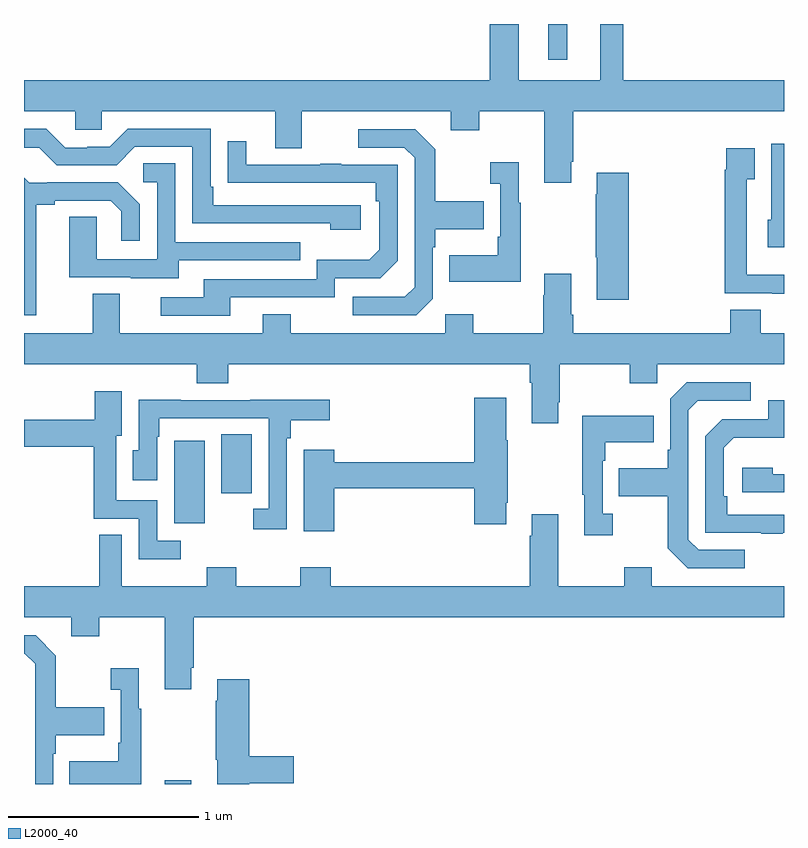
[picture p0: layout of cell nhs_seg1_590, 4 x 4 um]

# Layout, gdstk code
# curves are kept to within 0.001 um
import gdstk
lib = gdstk.Library(unit=1e-6, precision=1e-09)
def R(c, l, rs):  # rectangles x0, y0, x1, y1
    for r in rs: c.add(gdstk.rectangle(r[:2], r[2:], *l))
def P(c, l, *ps):  # polygons
    for p in ps: c.add(gdstk.Polygon(p, *l))
L2000_40 = (2000, 40)

nhs_seg1_590 = lib.new_cell('nhs_seg1_590')
R(nhs_seg1_590, L2000_40, [(143.741,540.199,143.881,540.22), (143.792,541.572,143.95,542.005), (144.038,541.728,144.199,542.039), (145.76,544.011,145.858,544.199)])
P(nhs_seg1_590, L2000_40, [(145.879,543.475),(145.892,543.475),(145.892,543.74),(147,543.74),(147,543.904),(146.155,543.904),(146.155,544.199),(146.033,544.199),(146.033,543.904),(145.603,543.904),(145.603,544.199),(145.451,544.199),(145.451,543.904),(143,543.904),(143,543.74),(143.271,543.74),(143.271,543.642),(143.409,543.642),(143.409,543.74),(144.323,543.74),(144.323,543.546),(144.463,543.546),(144.463,543.74),(145.247,543.74),(145.247,543.641),(145.395,543.641),(145.395,543.74),(145.739,543.74),(145.739,543.363),(145.879,543.363)],
  [(144.772,543.246),(143.995,543.246),(143.995,543.343),(143.982,543.343),(143.982,543.648),(143.547,543.648),(143.451,543.552),(143.333,543.552),(143.333,543.549),(143.217,543.549),(143.117,543.649),(143,543.649),(143,543.549),(143.079,543.549),(143.172,543.456),(143.487,543.456),(143.583,543.552),(143.886,543.552),(143.886,543.15),(144.611,543.15),(144.611,543.116),(144.772,543.116)],
  [(145.152,542.754),(145.152,543.023),(145.165,543.023),(145.165,543.119),(145.421,543.119),(145.421,543.267),(145.165,543.267),(145.165,543.539),(145.059,543.645),(144.759,543.645),(144.759,543.549),(145.002,543.549),(145.056,543.495),(145.056,542.814),(145.005,542.763),(144.729,542.763),(144.729,542.667),(145.065,542.667)],
  [(144.085,542.76),(144.636,542.76),(144.636,542.862),(144.876,542.862),(144.966,542.952),(144.966,543.459),(144.671,543.459),(144.671,543.464),(144.559,543.464),(144.559,543.459),(144.169,543.459),(144.169,543.583),(144.073,543.583),(144.073,543.364),(144.85,543.363),(144.85,543.266),(144.87,543.266),(144.87,543.012),(144.817,542.959),(144.54,542.959),(144.54,542.856),(143.945,542.856),(143.945,542.76),(143.721,542.76),(143.721,542.664),(144.085,542.664)],
  [(147,543.568),(146.933,543.568),(146.933,543.168),(146.915,543.168),(146.915,543.024),(147,543.024)],
  [(147,542.878),(146.805,542.878),(146.805,543.383),(146.845,543.383),(146.845,543.544),(146.697,543.544),(146.697,543.431),(146.689,543.431),(146.689,542.781),(146.939,542.781),(146.939,542.78),(147,542.78)],
  [(145.615,543.259),(145.603,543.259),(145.603,543.472),(145.455,543.472),(145.455,543.359),(145.506,543.359),(145.506,543.079),(145.494,543.079),(145.494,542.983),(145.237,542.983),(145.237,542.843),(145.615,542.843)],
  [(143.815,542.955),(144.455,542.955),(144.455,543.051),(143.796,543.051),(143.796,543.467),(143.628,543.467),(143.628,543.366),(143.7,543.366),(143.7,542.961),(143.382,542.961),(143.382,543.185),(143.237,543.185),(143.237,542.865),(143.561,542.865),(143.561,542.861),(143.815,542.861)],
  [(146.183,543.415),(146.015,543.415),(146.015,543.302),(146.008,543.302),(146.008,542.971),(146.015,542.971),(146.015,542.748),(146.183,542.748)],
  [(143.065,543.248),(143.161,543.248),(143.161,543.27),(143.456,543.27),(143.513,543.213),(143.513,543.057),(143.61,543.057),(143.61,543.25),(143.494,543.366),(143.122,543.366),(143.122,543.363),(143.028,543.363),(143,543.391),(143,542.667),(143.065,542.667)],
  [(145.365,542.671),(145.218,542.671),(145.218,542.572),(144.405,542.572),(144.405,542.671),(144.257,542.671),(144.257,542.572),(143.503,542.572),(143.503,542.78),(143.363,542.78),(143.363,542.572),(143,542.572),(143,542.408),(143.909,542.408),(143.909,542.309),(144.074,542.309),(144.074,542.408),(145.661,542.408),(145.661,542.312),(145.673,542.312),(145.673,542.097),(145.813,542.097),(145.813,542.209),(145.821,542.209),(145.821,542.408),(146.188,542.408),(146.188,542.309),(146.334,542.309),(146.334,542.408),(147,542.408),(147,542.572),(146.877,542.572),(146.877,542.696),(146.717,542.696),(146.717,542.572),(145.892,542.572),(145.892,542.668),(145.879,542.668),(145.879,542.884),(145.739,542.884),(145.739,542.771),(145.732,542.771),(145.732,542.572),(145.365,542.572)],
  [(146.794,541.431),(146.55,541.431),(146.496,541.485),(146.496,542.166),(146.547,542.217),(146.824,542.217),(146.824,542.313),(146.487,542.313),(146.4,542.226),(146.4,541.957),(146.388,541.957),(146.388,541.861),(146.131,541.861),(146.131,541.714),(146.388,541.714),(146.388,541.441),(146.493,541.335),(146.794,541.335)],
  [(143.824,541.479),(143.7,541.479),(143.7,541.692),(143.485,541.692),(143.485,542.033),(143.515,542.033),(143.515,542.266),(143.372,542.266),(143.372,542.115),(143,542.115),(143,541.973),(143.367,541.973),(143.367,541.596),(143.604,541.596),(143.604,541.382),(143.824,541.382)],
  [(144.632,541.756),(145.37,541.756),(145.37,541.566),(145.537,541.566),(145.537,541.678),(145.545,541.678),(145.545,542.009),(145.537,542.009),(145.537,542.233),(145.37,542.233),(145.37,541.892),(144.632,541.892),(144.632,541.957),(144.473,541.957),(144.473,541.53),(144.632,541.53)],
  [(144.384,542.018),(144.404,542.018),(144.404,542.114),(144.61,542.114),(144.61,542.222),(144.191,542.222),(144.191,542.22),(143.825,542.22),(143.825,542.222),(143.604,542.222),(143.604,541.956),(143.573,541.956),(143.573,541.797),(143.7,541.797),(143.7,542.027),(143.713,542.027),(143.713,542.124),(144.288,542.124),(144.288,541.647),(144.207,541.647),(144.207,541.539),(144.384,541.539)],
  [(146.993,541.521),(147,541.521),(147,541.617),(146.702,541.617),(146.702,541.714),(146.682,541.714),(146.682,541.968),(146.735,542.021),(147,542.021),(147,542.22),(146.916,542.22),(146.916,542.118),(146.676,542.118),(146.586,542.028),(146.586,541.521),(146.881,541.521),(146.881,541.516),(146.993,541.516)],
  [(146.098,541.622),(146.046,541.622),(146.046,541.901),(146.059,541.901),(146.059,541.997),(146.315,541.997),(146.315,542.137),(145.938,542.137),(145.938,541.721),(145.949,541.721),(145.949,541.509),(146.098,541.509)],
  [(147,541.83),(146.942,541.83),(146.942,541.864),(146.781,541.864),(146.781,541.734),(147,541.734)],
  [(143.881,540.811),(143.894,540.811),(143.894,541.076),(147,541.076),(147,541.24),(146.305,541.24),(146.305,541.339),(146.158,541.339),(146.158,541.24),(145.813,541.24),(145.813,541.618),(145.673,541.618),(145.673,541.505),(145.661,541.505),(145.661,541.24),(144.614,541.24),(144.614,541.339),(144.454,541.339),(144.454,541.24),(144.117,541.24),(144.117,541.339),(143.962,541.339),(143.962,541.24),(143.515,541.24),(143.515,541.511),(143.397,541.511),(143.397,541.24),(143,541.24),(143,541.076),(143.249,541.076),(143.249,540.977),(143.397,540.977),(143.397,541.076),(143.741,541.076),(143.741,540.699),(143.881,540.699)],
  [(143.154,540.359),(143.167,540.359),(143.167,540.455),(143.423,540.455),(143.423,540.603),(143.167,540.603),(143.167,540.875),(143.061,540.981),(143,540.981),(143,540.885),(143.004,540.885),(143.058,540.831),(143.058,540.199),(143.154,540.199)],
  [(143.617,540.595),(143.605,540.595),(143.605,540.808),(143.457,540.808),(143.457,540.695),(143.508,540.695),(143.508,540.415),(143.496,540.415),(143.496,540.319),(143.239,540.319),(143.239,540.199),(143.617,540.199)],
  [(144.185,540.202),(144.421,540.202),(144.421,540.344),(144.185,540.344),(144.185,540.751),(144.017,540.751),(144.017,540.638),(144.01,540.638),(144.01,540.327),(144.017,540.327),(144.017,540.199),(144.185,540.199)])

lib.write_gds('nhs_seg1_590.gds')
